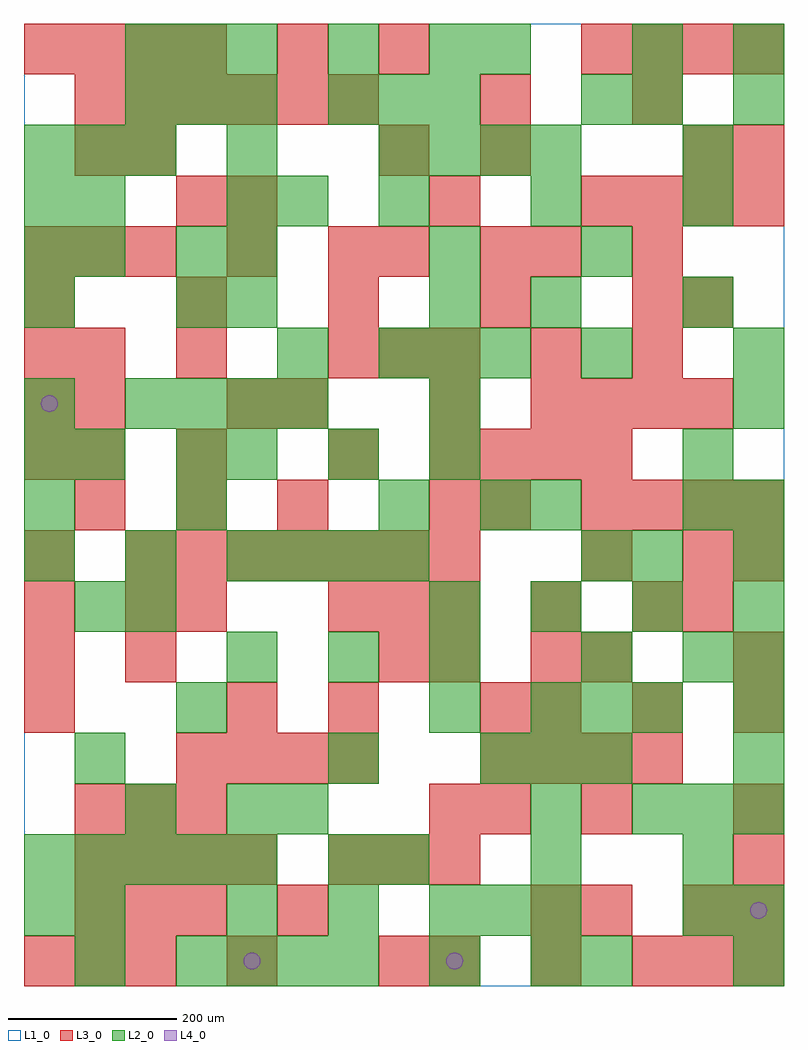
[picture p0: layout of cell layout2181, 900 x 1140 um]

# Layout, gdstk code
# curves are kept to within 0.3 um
import gdstk
lib = gdstk.Library(unit=1e-6, precision=1e-09)
def R(c, l, rs):  # rectangles x0, y0, x1, y1
    for r in rs: c.add(gdstk.rectangle(r[:2], r[2:], *l))
def A(c, l, x, y, w, h, nx, ny, dx, dy):  # array of equal rectangles
    R(c, l, [(x+i*dx, y+j*dy, x+i*dx+w, y+j*dy+h) for i in range(nx) for j in range(ny)])
def P(c, l, *ps):  # polygons
    for p in ps: c.add(gdstk.Polygon(p, *l))
L1_0 = (1, 0)
L2_0 = (2, 0)
L3_0 = (3, 0)
L4_0 = (4, 0)

layout2181 = lib.new_cell('layout2181')
R(layout2181, L1_0, [(0,0,900,1140)])
A(layout2181, L2_0, 180, 0, 60, 60, 4, 1, 60, 0)
A(layout2181, L2_0, 60, 60, 60, 60, 1, 4, 0, 180)
A(layout2181, L2_0, 240, 60, 60, 60, 3, 2, 120, 300)
A(layout2181, L2_0, 0, 120, 60, 60, 5, 1, 60, 0)
A(layout2181, L2_0, 420, 120, 60, 60, 3, 2, 180, 780)
A(layout2181, L2_0, 720, 180, 60, 60, 3, 1, 60, 0)
A(layout2181, L2_0, 540, 240, 60, 60, 3, 1, 60, 0)
A(layout2181, L2_0, 840, 240, 60, 60, 1, 3, 0, 60)
A(layout2181, L2_0, 600, 300, 60, 60, 3, 1, 60, 0)
A(layout2181, L2_0, 480, 420, 60, 60, 4, 1, 120, 0)
A(layout2181, L2_0, 0, 480, 60, 60, 3, 1, 120, 0)
A(layout2181, L2_0, 300, 480, 60, 60, 3, 1, 60, 0)
A(layout2181, L2_0, 0, 540, 60, 60, 1, 3, 0, 60)
A(layout2181, L2_0, 240, 600, 60, 60, 3, 1, 120, 0)
A(layout2181, L2_0, 780, 600, 60, 60, 1, 3, 0, 180)
A(layout2181, L2_0, 120, 660, 60, 60, 4, 1, 60, 0)
A(layout2181, L2_0, 420, 720, 60, 60, 3, 1, 60, 0)
A(layout2181, L2_0, 0, 780, 60, 60, 1, 3, 0, 60)
A(layout2181, L2_0, 240, 780, 60, 60, 1, 4, 0, 60)
A(layout2181, L2_0, 0, 960, 60, 60, 3, 1, 60, 0)
A(layout2181, L2_0, 420, 960, 60, 60, 4, 1, 60, 0)
A(layout2181, L2_0, 120, 1020, 60, 60, 3, 2, 60, 60)
A(layout2181, L2_0, 360, 1020, 60, 60, 3, 1, 60, 0)
R(layout2181, L2_0, [(60,0,120,60), (480,0,540,60), (600,0,660,60), (660,0,720,60), (840,0,900,60), (0,60,60,120), (540,60,600,120), (600,60,660,120), (780,60,840,120), (840,60,900,120), (360,120,420,180), (120,180,180,240), (240,180,300,240), (300,180,360,240), (600,180,660,240), (360,240,420,300), (180,300,240,360), (480,300,540,360), (660,360,720,420), (780,360,840,420), (120,420,180,480), (660,480,720,540), (720,480,780,540), (840,480,900,540), (180,540,240,600), (420,540,480,600), (540,540,600,600), (600,540,660,600), (780,540,840,600), (840,540,900,600), (180,600,240,660), (480,660,540,720), (840,660,900,720), (300,720,360,780), (660,720,720,780), (840,720,900,780), (180,780,240,840), (480,780,540,840), (600,780,660,840), (60,840,120,900), (180,840,240,900), (480,840,540,900), (660,840,720,900), (60,900,120,960), (300,900,360,960), (660,1020,720,1080), (720,1020,780,1080), (840,1020,900,1080), (360,1080,420,1140), (480,1080,540,1140), (540,1080,600,1140), (720,1080,780,1140), (840,1080,900,1140)])
A(layout2181, L3_0, 0, 0, 60, 60, 3, 2, 60, 840)
A(layout2181, L3_0, 480, 0, 60, 60, 3, 1, 120, 0)
A(layout2181, L3_0, 840, 0, 60, 60, 1, 4, 0, 60)
A(layout2181, L3_0, 60, 60, 60, 60, 3, 2, 60, 120)
A(layout2181, L3_0, 60, 120, 60, 60, 4, 1, 60, 0)
A(layout2181, L3_0, 360, 120, 60, 60, 3, 3, 60, 300)
A(layout2181, L3_0, 480, 180, 60, 60, 1, 3, 0, 180)
A(layout2181, L3_0, 180, 240, 60, 60, 4, 1, 60, 0)
A(layout2181, L3_0, 540, 240, 60, 60, 4, 1, 60, 0)
A(layout2181, L3_0, 0, 300, 60, 60, 1, 4, 0, 60)
A(layout2181, L3_0, 600, 300, 60, 60, 3, 1, 120, 0)
A(layout2181, L3_0, 120, 480, 60, 60, 7, 1, 60, 0)
A(layout2181, L3_0, 60, 540, 60, 60, 3, 1, 120, 0)
A(layout2181, L3_0, 660, 540, 60, 60, 4, 2, 60, 360)
A(layout2181, L3_0, 0, 600, 60, 60, 1, 3, 0, 60)
A(layout2181, L3_0, 60, 600, 60, 60, 1, 3, 0, 60)
A(layout2181, L3_0, 480, 600, 60, 60, 4, 1, 60, 0)
A(layout2181, L3_0, 600, 660, 60, 60, 4, 1, 60, 0)
A(layout2181, L3_0, 0, 780, 60, 60, 5, 1, 180, 0)
A(layout2181, L3_0, 420, 840, 60, 60, 1, 3, 0, 120)
A(layout2181, L3_0, 60, 1020, 60, 60, 6, 1, 60, 0)
A(layout2181, L3_0, 0, 1080, 60, 60, 4, 1, 60, 0)
A(layout2181, L3_0, 660, 1080, 60, 60, 4, 1, 60, 0)
R(layout2181, L3_0, [(240,0,300,60), (420,0,480,60), (780,0,840,60), (300,60,360,120), (600,60,660,120), (660,60,720,120), (780,60,840,120), (540,180,600,240), (660,180,720,240), (240,300,300,360), (360,300,420,360), (540,300,600,360), (120,360,180,420), (420,360,480,420), (600,360,660,420), (660,360,720,420), (840,360,900,420), (120,420,180,480), (180,420,240,480), (600,420,660,480), (720,420,780,480), (780,420,840,480), (660,480,720,540), (780,480,840,540), (840,480,900,540), (540,540,600,600), (180,600,240,660), (360,600,420,660), (240,660,300,720), (300,660,360,720), (480,660,540,720), (180,720,240,780), (600,720,660,780), (720,720,780,780), (780,780,840,840), (240,840,300,900), (360,840,420,900), (540,840,600,900), (600,840,660,900), (720,840,780,900), (180,900,240,960), (240,900,300,960), (480,900,540,960), (60,960,120,1020), (120,960,180,1020), (540,960,600,1020), (780,960,840,1020), (840,960,900,1020), (540,1020,600,1080), (720,1020,780,1080), (300,1080,360,1140)])
P(layout2181, L4_0, [(40,690),(39.239,693.827),(37.071,697.071),(33.827,699.239),(30,700),(26.173,699.239),(22.929,697.071),(20.761,693.827),(20,690),(20.761,686.173),(22.929,682.929),(26.173,680.761),(30,680),(33.827,680.761),(37.071,682.929),(39.239,686.173)],
  [(280,30),(279.239,33.827),(277.071,37.071),(273.827,39.239),(270,40),(266.173,39.239),(262.929,37.071),(260.761,33.827),(260,30),(260.761,26.173),(262.929,22.929),(266.173,20.761),(270,20),(273.827,20.761),(277.071,22.929),(279.239,26.173)],
  [(520,30),(519.239,33.827),(517.071,37.071),(513.827,39.239),(510,40),(506.173,39.239),(502.929,37.071),(500.761,33.827),(500,30),(500.761,26.173),(502.929,22.929),(506.173,20.761),(510,20),(513.827,20.761),(517.071,22.929),(519.239,26.173)],
  [(880,90),(879.239,93.827),(877.071,97.071),(873.827,99.239),(870,100),(866.173,99.239),(862.929,97.071),(860.761,93.827),(860,90),(860.761,86.173),(862.929,82.929),(866.173,80.761),(870,80),(873.827,80.761),(877.071,82.929),(879.239,86.173)])

lib.write_gds('layout2181.gds')
